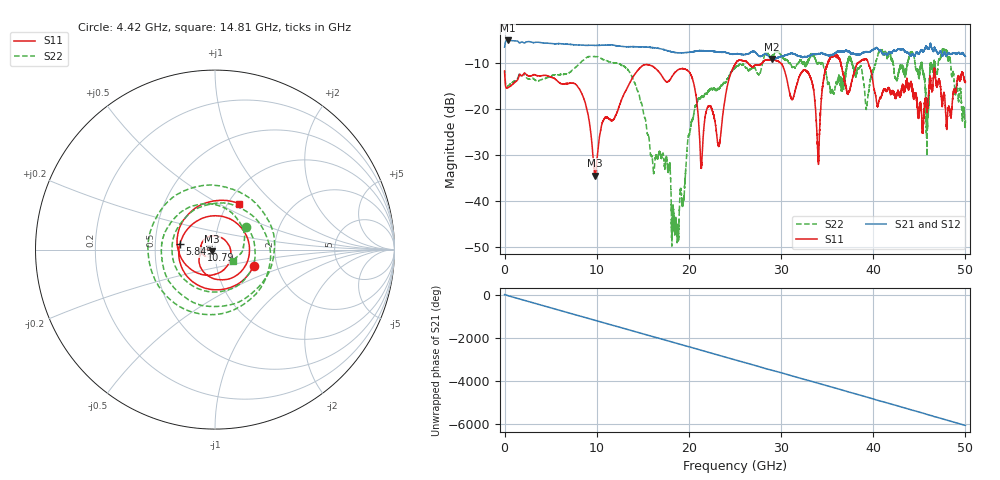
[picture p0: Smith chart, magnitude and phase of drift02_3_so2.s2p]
!Created with skrf (http://scikit-rf.org).
# Hz S RI R 50.0
!freq ReS11 ImS11 ReS21 ImS21 ReS12 ImS12 ReS22 ImS22
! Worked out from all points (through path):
!   10001 points, 300 kHz to 50 GHz, reference 50 ohm
!   highest |S21| = -5.04 dB at 325.3 MHz (marker M1); lowest = -9.0 dB at 29.05 GHz (marker M2)
!   group delay of S21, straight-line fit = 336 ps
!   lowest |S11| = -34.4 dB at 9.815 GHz (marker M3), VSWR 1.04, Z = 48.4 - j0.918 ohm
!   |S11| at or under -10 dB: start of sweep to 25.07 GHz; 29.98 GHz to 35.06 GHz (5.082 GHz wide, 15.6 % of centre); 39.47 GHz to end of sweep (the widest 3 of 8)
!   |S22| runs from -49.8 to -6.8 dB; largest |S21 - S12| = 0.022
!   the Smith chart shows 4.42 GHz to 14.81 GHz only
!   S11 on the Smith chart (normalised r, x): 4.42 GHz: 1.51, -0.30; 5.845 GHz: 0.67, +0.04; 10.79 GHz: 0.86, -0.01; 14.81 GHz: 1.12, +0.63
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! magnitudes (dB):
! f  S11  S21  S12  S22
! 300 kHz  -11.7  -6.5  -6.4  -11.6
! 325.3 MHz  -15.4  -5.0  -5.0  -15.0
! 4.42 GHz  -12.6  -5.6  -5.6  -13.3
! 5.845 GHz  -14.1  -5.7  -5.7  -12.5
! 8.335 GHz  -16.4  -6.0  -6.1  -9.7
! 9.815 GHz  -34.4  -6.1  -6.1  -8.5
! 10.79 GHz  -22.2  -6.1  -6.1  -9.3
! 14.81 GHz  -10.8  -6.4  -6.4  -18.5
! 16.67 GHz  -11.7  -6.7  -6.7  -30.1
! 18.68 GHz  -11.6  -7.7  -7.7  -46.4
! 20.37 GHz  -13.3  -7.5  -7.5  -22.3
! 21.36 GHz  -32.6  -7.3  -7.3  -17.2
! 23.3 GHz  -27.8  -7.6  -7.6  -15.5
! 25 GHz  -10.3  -8.0  -8.0  -11.0
! 29.05 GHz  -9.1  -9.0  -9.0  -8.3
! 33.34 GHz  -14.0  -8.1  -8.2  -8.0
! 34.02 GHz  -31.0  -7.9  -7.9  -9.9
! 35.54 GHz  -8.4  -8.2  -8.2  -15.7
! 41.67 GHz  -15.4  -7.7  -7.7  -7.8
! 45.84 GHz  -20.8  -6.7  -6.7  -23.1
! 47.77 GHz  -17.5  -7.6  -7.6  -7.3
! 50 GHz  -14.1  -8.5  -8.5  -22.3
